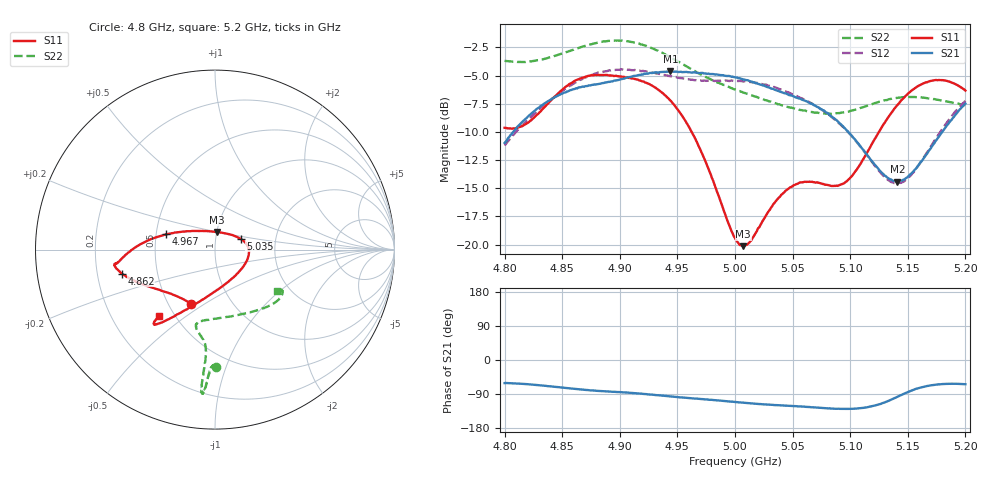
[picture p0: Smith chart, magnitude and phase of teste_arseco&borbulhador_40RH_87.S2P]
! Network Analyzer HP8722D
! Hewlett-Packard
! Data name: Linha & Wilkinson
! Saver's name: Rodrigo Anjos
! Comments: Teste da utilização de aquisição
! continua pelo VNA HP8722D
! Time and date: 15/4/2025 17:04
!  Frequency  S11  S21  S12  S22
# HZ  S  MA R 50
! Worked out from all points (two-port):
!   401 points, 4.8 GHz to 5.2 GHz, reference 50 ohm
!   highest |S21| = -4.63 dB at 4.944 GHz (marker M1); lowest = -14.4 dB at 5.141 GHz (marker M2)
!   |S21| within 3 dB of the highest: 4.833 GHz to 5.069 GHz (236.2 MHz wide, 4.77 % of centre); 5.198619 GHz to end of sweep
!   lowest |S11| = -20.1 dB at 5.007 GHz (marker M3), VSWR 1.22, Z = 50.2 + j9.91 ohm
!   |S11| at or under -10 dB: 4.962 GHz to 5.125 GHz (162.6 MHz wide, 3.22 % of centre)
!   |S22| runs from -8.4 to -1.9 dB; largest |S21 - S12| = 0.88
!   S11 on the Smith chart (normalised r, x): 4.8 GHz: 0.65, -0.44; 4.862 GHz: 0.31, -0.12; 4.967 GHz: 0.57, +0.11; 5.035 GHz: 1.32, +0.16; 5.2 GHz: 0.41, -0.40
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4.8e9  0.3298 -113.7  0.2825 -60.9  0.2753 -175.0  0.6537 -89.5
4.819e9  0.3443 -133.5  0.3641 -63.7  0.353 -173.3  0.6483 -91.2
4.862e9  0.5365 -165.5  0.4941 -76.5  0.5258 -176.4  0.7395 -93.4
4.867e9  0.549 -167.5  0.5011 -78.1  0.5413 -177.2  0.7535 -93.8
4.9e9  0.5572 -172.1  0.5402 -84.8  0.5967 176.0  0.8027 -94.9
4.934e9  0.4844 -178.0  0.5807 -93.2  0.5724 172.1  0.7185 -95.6
4.944e9  0.4355 177.5  0.5871 -96.0  0.5578 172.0  0.6782 -95.3
4.967e9  0.2845 162.5  0.5787 -102.0  0.5352 173.9  0.5805 -94.9
5e9  0.1068 107.0  0.5526 -110.8  0.5338 176.5  0.4878 -99.3
5.007e9  0.09845 83.5  0.5408 -112.6  0.5289 176.5  0.4733 -100.9
5.014e9  0.1042 61.4  0.5287 -114.5  0.5263 176.4  0.4607 -102.4
5.035e9  0.1549 23.1  0.4857 -118.9  0.4983 175.1  0.4239 -103.8
5.05e9  0.1817 7.1  0.4568 -121.4  0.4633 174.5  0.4042 -100.2
5.067e9  0.1901 -11.3  0.4207 -124.6  0.4222 174.0  0.3875 -91.9
5.087e9  0.1821 -43.8  0.3597 -128.7  0.3573 173.8  0.3825 -77.0
5.097e9  0.1909 -64.9  0.321 -129.0  0.3209 174.4  0.3884 -68.5
5.134e9  0.3735 -116.0  0.1957 -106.8  0.1921 -159.6  0.442 -43.4
5.141e9  0.4163 -120.0  0.1904 -96.9  0.1869 -148.6  0.4478 -40.2
5.153e9  0.4812 -124.8  0.2068 -81.0  0.2038 -130.1  0.4517 -35.9
5.17e9  0.5323 -128.5  0.2675 -66.9  0.2728 -112.9  0.4444 -32.0
5.185e9  0.5304 -130.0  0.3425 -63.0  0.3541 -107.0  0.4305 -31.1
5.2e9  0.4825 -130.3  0.4225 -63.9  0.4344 -106.0  0.4153 -33.4
